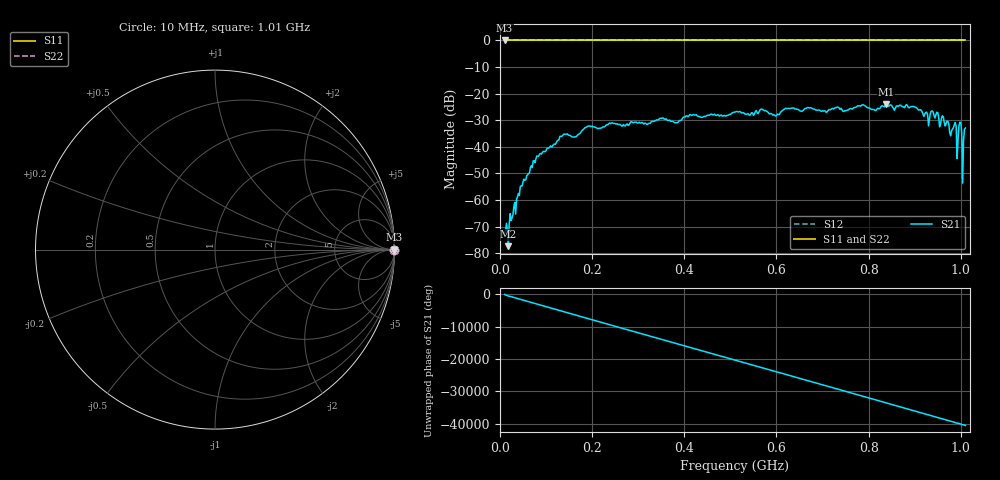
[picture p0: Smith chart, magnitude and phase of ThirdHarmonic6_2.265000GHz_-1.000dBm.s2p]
! 8/17/2025 2:49:36 AM
! C:\ANRITSUVNA\TEMP\TEMP.S2P
! CHANNEL.1
! TR.MEASUREMENT
! RAW.DATA
! RF.CORRECTION.OFF
! AVERAGING.OFF
! IF.BANDWIDTH: 5KHZ
! SWEEPTYPE:  FREQ.SWEEP(Linear)
! Reference Plane Port Info
! PORT:  PORT1  PORT2
! DISTANCE:  0  m  0  m
! TIME:  0  s  0  s
! PHASE.OFFSET:  0  deg.  0  deg.
! LOSS:  0  dB  0  dB
! REF.LOSS:  0  dB  0  dB
! REF.FREQ:  0  Hz  0  Hz
! Power Info
! POWER:  -20  dBm  -20  dBm
! EFF.POWER:  -20  dBm  -20  dBm
! SOURCE.ATTEN:  0  dB  0  dB
! TEST.ATTEN:  0  dB  0  dB
# GHZ S RI R 50.0
! FREQ.GHZ  S11RE  S11IM  S21RE  S21IM  S12RE  S12IM  S22RE  S22IM
!; PortSelection: Port_12
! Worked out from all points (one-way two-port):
!   501 points, 10 MHz to 1.01 GHz, reference 50 ohm
!   highest |S21| = -24.02 dB at 838 MHz (marker M1); lowest = -77.3 dB at 18 MHz (marker M2)
!   lowest |S11| = 0.0 dB at 10 MHz (marker M3)
!   |S11| at or under -10 dB: nowhere
!   |S22| runs from 0.0 to 0.0 dB; largest |S21 - S12| = 1.1
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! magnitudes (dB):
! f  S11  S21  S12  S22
! 10 MHz  0.0  -72.4  0.0  0.0
! 18 MHz  0.0  -77.3  0.0  0.0
! 48 MHz  0.0  -54.7  0.0  0.0
! 76 MHz  0.0  -45.9  0.0  0.0
! 134 MHz  0.0  -36.0  0.0  0.0
! 178 MHz  0.0  -33.8  0.0  0.0
! 344 MHz  0.0  -29.7  0.0  0.0
! 510 MHz  0.0  -26.9  0.0  0.0
! 596 MHz  0.0  -28.2  0.0  0.0
! 678 MHz  0.0  -25.6  0.0  0.0
! 838 MHz  0.0  -24.0  0.0  0.0
! 844 MHz  0.0  -24.6  0.0  0.0
! 928 MHz  0.0  -27.9  0.0  0.0
! 938 MHz  0.0  -26.5  0.0  0.0
! 980 MHz  0.0  -34.0  0.0  0.0
! 986 MHz  0.0  -31.6  0.0  0.0
! 990 MHz  0.0  -32.3  0.0  0.0
! 998 MHz  0.0  -30.7  0.0  0.0
! 1 GHz  0.0  -30.8  0.0  0.0
! 1.006 GHz  0.0  -37.5  0.0  0.0
! 1.008 GHz  0.0  -33.4  0.0  0.0
! 1.01 GHz  0.0  -32.9  0.0  0.0
